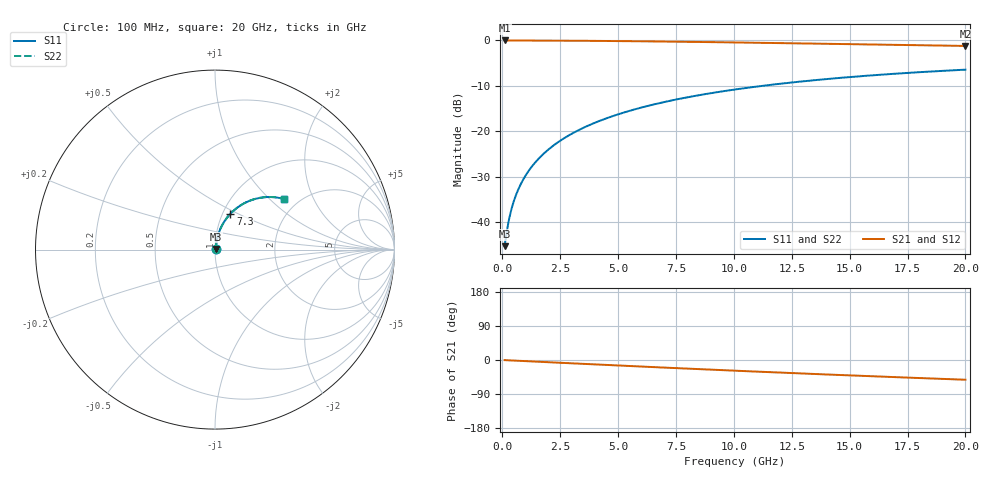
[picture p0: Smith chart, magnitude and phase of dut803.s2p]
! Touchstone file exported from HFSS 2026.1.0
!  File:  C:/ffzhzh/LocalFiles/Ansys_Project_Files/temp_train_TMRDL_803_1783156160_22436.aedt
!  Generated:  05:10:33 PM Jul  4, 2026
!  Design:  TMRDL
!  Project:  temp_train_TMRDL_803_1783156160_22436
! Variables:
!  h_bsmrdl = 2um
!  h_ox = 20um
!  h_rdl = 5um
!  h_sub = 80um
!  h_tmrdl = 3.52um
!  h_tsv = 80um
!  h_via = 3um
!  l_bsmrdl = 300um
!  l_sub = 1179.1um
!  l_tmrdl = 779.1um
!  m_sub = 200um
!  pitch = 47.4um
!  r_tsv = 6um
!  s_tmrdl = 10um
!  w_bsmrdl = 18um
!  w_sub = 500um
!  w_tmrdl = 19.18um
!  x_tsv_center1 = 788.69um
!  x_tsv_center2 = 1106.69um
!  x_tsv_center3 = 1904.97um
!  x_tsv_center4 = 2222.97um
!  x_tsv_center5 = 3021.25um
!  x_tsv_center6 = 3339.25um
# GHz S MA R 50.000000
! Terminal data exported
! Port[1] = TM_RDL1_1_T1
! Port[2] = TM_RDL1_1_T2
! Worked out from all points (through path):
!   200 points, 100 MHz to 20 GHz, reference 50 ohm
!   highest |S21| = -0.04 dB at 100 MHz (marker M1); lowest = -1.2 dB at 20 GHz (marker M2)
!   group delay of S21, straight-line fit = 7.24 ps
!   lowest |S11| = -45.3 dB at 100 MHz (marker M3), VSWR 1.01, Z = 50.4 + j0.341 ohm
!   |S11| at or under -10 dB: start of sweep to 11.28 GHz
!   |S22| runs from -45.3 to -6.5 dB; largest |S21 - S12| = 3.5e-15
!   S11 on the Smith chart (normalised r, x): 100 MHz: 1.01, +0.01; 7.3 GHz: 1.09, +0.46; 20 GHz: 1.68, +1.22
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0.1  0.005431 38.6  0.9958 -0.3  0.9958 -0.3  0.005431 38.6
! Gamma 0 0 0 0
! Port Impedance 50 0 50 0
0.2  0.008046 56.5  0.9956 -0.6  0.9956 -0.6  0.008046 56.5
0.3  0.011 64.6  0.9954 -0.9  0.9954 -0.9  0.011 64.6
0.4  0.01403 69.1  0.9952 -1.2  0.9952 -1.2  0.01403 69.1
0.5  0.01706 71.9  0.995 -1.5  0.995 -1.5  0.01706 71.9
0.6  0.02011 73.8  0.9948 -1.8  0.9948 -1.8  0.0201 73.8
0.8  0.0262 76.2  0.9946 -2.4  0.9946 -2.4  0.0262 76.2
1.1  0.0354 78.0  0.9941 -3.2  0.9941 -3.2  0.0354 78.0
1.3  0.04155 78.6  0.9938 -3.8  0.9938 -3.8  0.04155 78.6
1.6  0.05079 79.0  0.9932 -4.7  0.9932 -4.7  0.05079 79.0
2.1  0.0662 78.8  0.9921 -6.2  0.9921 -6.2  0.0662 78.8
2.7  0.08459 78.0  0.9904 -7.9  0.9904 -7.9  0.08459 78.0
3.5  0.1089 76.3  0.9876 -10.2  0.9876 -10.2  0.1089 76.3
4.2  0.1298 74.7  0.9846 -12.2  0.9846 -12.2  0.1298 74.7
5  0.1532 72.7  0.9807 -14.5  0.9807 -14.5  0.1532 72.7
6.8  0.2039 68.0  0.9702 -19.5  0.9702 -19.5  0.2039 68.0
7.3  0.2175 66.7  0.9669 -20.9  0.9669 -20.9  0.2175 66.7
8.6  0.2516 63.3  0.9578 -24.4  0.9578 -24.4  0.2516 63.3
10.1  0.2887 59.5  0.9466 -28.3  0.9466 -28.3  0.2887 59.5
13.4  0.3622 51.4  0.92 -36.7  0.92 -36.7  0.3622 51.4
16.7  0.4243 43.7  0.8928 -44.6  0.8928 -44.6  0.4243 43.7
20  0.4751 36.4  0.8668 -52.1  0.8668 -52.1  0.4751 36.4
